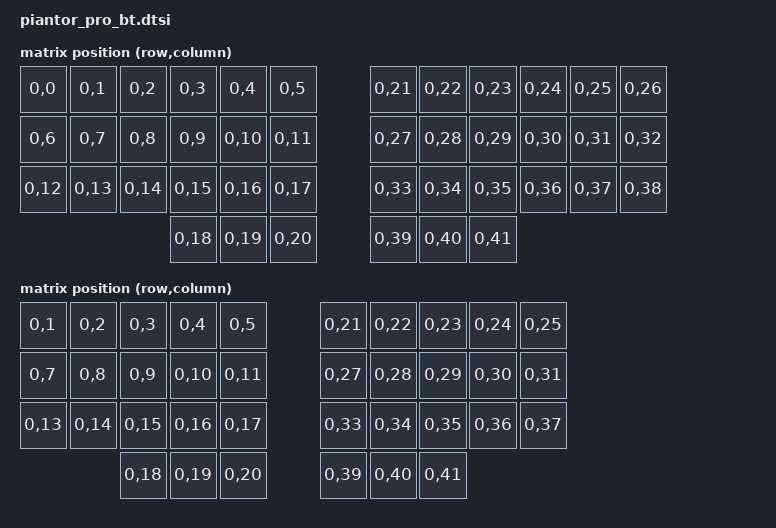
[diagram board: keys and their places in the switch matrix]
/*
* Copyright (c) 2020 The ZMK Contributors
*
* SPDX-License-Identifier: MIT
*/

/dts-v1/;
#include <nordic/nrf52840_qiaa.dtsi>
#include <dt-bindings/zmk/matrix_transform.h>

#include "piantor_pro_bt-layouts.dtsi"

&default_layout {
    transform = <&default_transform>;
};

&five_col_layout {
    transform = <&five_col_transform>;
};

/ {
    chosen {
        zephyr,code-partition = &code_partition;
        zephyr,sram = &sram0;
        zephyr,flash = &flash0;
        zmk,kscan = &kscan0;
        zmk,battery = &fuelgauge;
    };

    default_transform: keymap_transform_0 {
        compatible = "zmk,matrix-transform";
        columns = <42>;
        rows = <1>;
        map = <
            RC(0,0)  RC(0,1)  RC(0,2)  RC(0,3)  RC(0,4)  RC(0,5)  RC(0,21) RC(0,22) RC(0,23) RC(0,24) RC(0,25) RC(0,26)
            RC(0,6)  RC(0,7)  RC(0,8)  RC(0,9)  RC(0,10) RC(0,11) RC(0,27) RC(0,28) RC(0,29) RC(0,30) RC(0,31) RC(0,32)
            RC(0,12) RC(0,13) RC(0,14) RC(0,15) RC(0,16) RC(0,17) RC(0,33) RC(0,34) RC(0,35) RC(0,36) RC(0,37) RC(0,38)
                                       RC(0,18) RC(0,19) RC(0,20) RC(0,39) RC(0,40) RC(0,41)
        >;
    };

    five_col_transform: keymap_transform_1 {
        compatible = "zmk,matrix-transform";
        columns = <36>;
        rows = <1>;
        map = <
            RC(0,1)  RC(0,2)  RC(0,3)  RC(0,4)  RC(0,5)  RC(0,21) RC(0,22) RC(0,23) RC(0,24) RC(0,25)
            RC(0,7)  RC(0,8)  RC(0,9)  RC(0,10) RC(0,11) RC(0,27) RC(0,28) RC(0,29) RC(0,30) RC(0,31)
            RC(0,13) RC(0,14) RC(0,15) RC(0,16) RC(0,17) RC(0,33) RC(0,34) RC(0,35) RC(0,36) RC(0,37)
                              RC(0,18) RC(0,19) RC(0,20) RC(0,39) RC(0,40) RC(0,41)
        >;
    };

    // Node name must match original "EXT_POWER" label to preserve user settings.
    EXT_POWER {
        compatible = "zmk,ext-power-generic";
        control-gpios = <&gpio1 11 GPIO_ACTIVE_HIGH>;
        init-delay-ms = <50>;
    };
};

&gpiote {
    status = "okay";
};

&gpio0 {
    status = "okay";
};

&gpio1 {
    status = "okay";
};

zephyr_udc0: &usbd {
    status = "okay";
};


&pinctrl {
    spi0_default: spi0_default {
        group1 {
            psels = <NRF_PSEL(SPIM_SCK, 0, 17)>,
                <NRF_PSEL(SPIM_MOSI, 0, 20)>,
                <NRF_PSEL(SPIM_MISO, 0, 25)>;
        };
    };

    spi0_sleep: spi0_sleep {
        group1 {
            psels = <NRF_PSEL(SPIM_SCK, 0, 17)>,
                <NRF_PSEL(SPIM_MOSI, 0, 20)>,
                <NRF_PSEL(SPIM_MISO, 0, 25)>;
            low-power-enable;
        };
    };

    i2c1_default: i2c1_default {
        group1 {
            psels = <NRF_PSEL(TWIM_SDA, 0, 4)>,
                <NRF_PSEL(TWIM_SCL, 0, 12)>;
        };
    };

    i2c1_sleep: i2c1_sleep {
        group1 {
            psels = <NRF_PSEL(TWIM_SDA, 0, 4)>,
                <NRF_PSEL(TWIM_SCL, 0, 12)>;
            low-power-enable;
        };
    };
};

nice_view_spi: &spi0 {
    compatible = "nordic,nrf-spim";
    pinctrl-0 = <&spi0_default>;
    pinctrl-1 = <&spi0_sleep>;
    pinctrl-names = "default", "sleep";
    cs-gpios = <&gpio0 6 GPIO_ACTIVE_HIGH>;
};

&i2c1 {
    status = "okay";
    compatible = "nordic,nrf-twim";
    pinctrl-0 = <&i2c1_default>;
    pinctrl-1 = <&i2c1_sleep>;
    pinctrl-names = "default", "sleep";
    clock-frequency = <100000>;

    fuelgauge: max17048@36 {
        compatible = "zmk,maxim-max17048";
        reg = <0x36>;
    };
};

&flash0 {
    /*
* For more information, see:
* http://docs.zephyrproject.org/latest/devices/dts/flash_partitions.html
    */
    partitions {
        compatible = "fixed-partitions";
        #address-cells = <1>;
        #size-cells = <1>;

        sd_partition: partition@0 {
            label = "softdevice";
            reg = <0x00000000 0x00026000>;
        };
        code_partition: partition@26000 {
            label = "code_partition";
            reg = <0x00026000 0x000c6000>;
        };
        storage_partition: partition@ec000 {
            label = "storage";
            reg = <0x000ec000 0x00008000>;
        };
        boot_partition: partition@f4000 {
            label = "adafruit_boot";
            reg = <0x000f4000 0x0000c000>;
        };
    };
};
